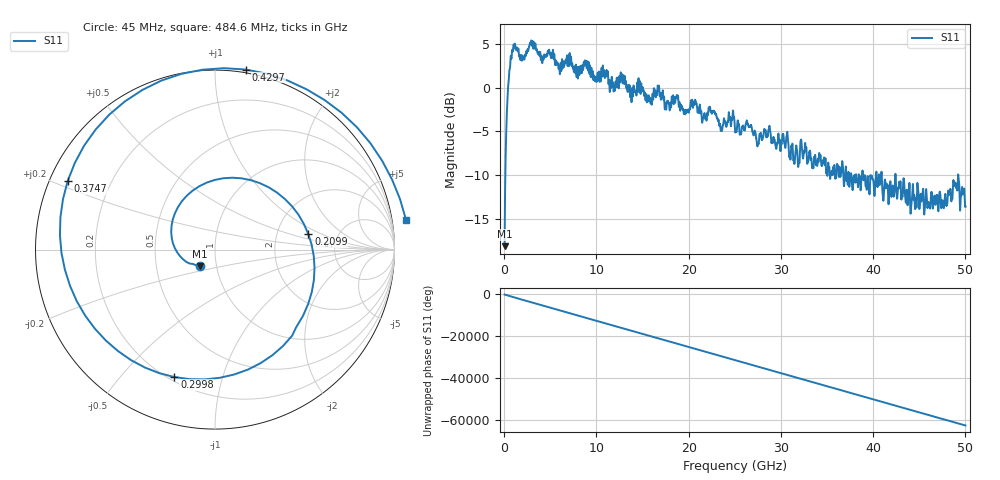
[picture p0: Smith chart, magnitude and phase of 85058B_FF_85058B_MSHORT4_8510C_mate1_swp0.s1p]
!Created with skrf (http://scikit-rf.org).
# Hz S RI R 50.0
!freq ReS11 ImS11
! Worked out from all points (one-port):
!   10001 points, 45 MHz to 50 GHz, reference 50 ohm
!   lowest |S11| = -18.2 dB at 45 MHz (marker M1), VSWR 1.28, Z = 41.8 - j7.86 ohm
!   |S11| at or under -10 dB: 38.89 GHz to 40.31 GHz (1.423 GHz wide, 3.59 % of centre); 40.93 GHz to 42.4 GHz (1.47 GHz wide, 3.53 % of centre); 42.43 GHz to 49.21 GHz (6.778 GHz wide, 14.8 % of centre) (the widest 3 of 20)
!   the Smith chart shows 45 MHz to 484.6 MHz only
!   S11 on the Smith chart (normalised r, x): 45 MHz: 0.84, -0.16; 209.9 MHz: 3.04, +0.72; 299.8 MHz: 0.22, -0.71; 374.7 MHz: 0.05, +0.22; 429.7 MHz: -0.02, +1.18; 484.6 MHz: -5, +10
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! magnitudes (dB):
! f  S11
! 45 MHz  -18.2
! 209.9 MHz  -5.6
! 299.8 MHz  -2.6
! 374.7 MHz  -0.9
! 429.7 MHz  0.2
! 484.6 MHz  0.6
! 794.3 MHz  3.4
! 1.169 GHz  5.0
! 1.973 GHz  3.7
! 3.017 GHz  4.8
! 6.289 GHz  2.9
! 12.53 GHz  0.8
! 15.8 GHz  -1.1
! 16.58 GHz  -0.8
! 17.61 GHz  -1.8
! 18.78 GHz  -1.2
! 19.57 GHz  -2.6
! 25.02 GHz  -4.9
! 26.51 GHz  -4.5
! 27.51 GHz  -6.5
! 30.48 GHz  -6.9
! 31.27 GHz  -6.8
! 32.38 GHz  -8.1
! 37.51 GHz  -10.6
! 43.76 GHz  -13.1
! 47.81 GHz  -12.2
! 49.08 GHz  -11.3
! 50 GHz  -13.6
